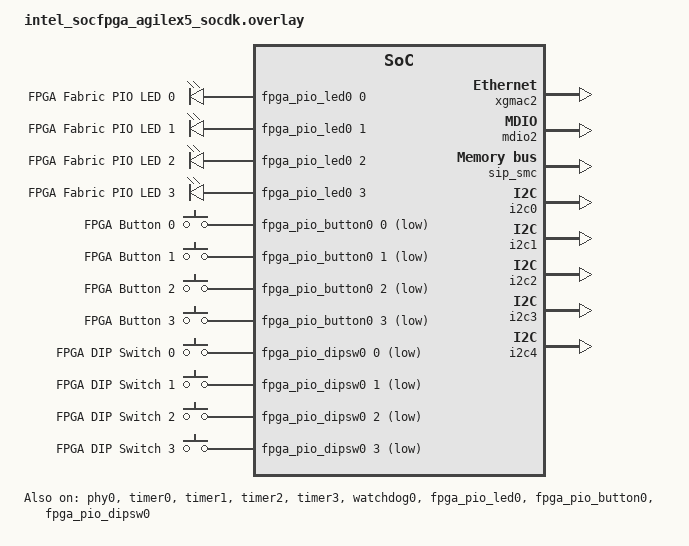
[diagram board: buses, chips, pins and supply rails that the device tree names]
/*
 * Copyright (C) 2023 Intel Corporation
 * SPDX-License-Identifier: Apache-2.0
 */
 

&xgmac2 {
	status = "okay";
};

&mdio2 {
	status = "okay";
};

&phy0 {
	status = "okay";
};

&timer0 {
	status = "okay";
};

&timer1 {
	status = "okay";
};

&timer2 {
	status = "okay";
};

&timer3 {
	status = "okay";
};

&watchdog0 {
	status = "okay";
};

&dma0 {
	status = "okay";
};

&dma1 {
	status = "okay";
};

&sip_smc {
	status = "okay";
	zephyr,num-clients = <5>;
};

&fpga_config {
	status = "okay";
};

&gpio0 {
	status = "okay";
};

&gpio1 {
	status = "okay";
};

&i3c0 {
	status = "disabled";

	lps22hh0: lps22hh@FB1122330001 {
		compatible = "st,lps22hh";
		reg = <0x00 0xFB11 0x22330001>;
		odr = <1>;
		status = "disabled";
	};

	lps22hh1: lps22hh@FB1122330002 {
		compatible = "st,lps22hh";
		reg = <0x00 0xFB11 0x22330002>;
		odr = <1>;
		status = "disabled";
	};

	lps22hh2: lps22hh@500000000000000050 { /* i2c device */
		compatible = "st,lps22hh";
		reg = <0x50 0x0 0x50>;
		status = "disabled";
	};
};

&i2c0 {
	status = "okay";
};

&i2c1 {
	status = "okay";
};

&i2c2 {
	status = "okay";
};

&i2c3 {
	status = "okay";
};

&i2c4 {
	status = "okay";
};

&dma1 {
	status = "okay";
};

&sip_smc {
	status = "okay";
	zephyr,num-clients = <5>;
};

&gpio0 {
	status = "okay";
};

&gpio1 {
	status = "okay";
};

&i3c0 {
	status = "disabled";

	lps22hh0: lps22hh@FB1122330001 {
		compatible = "st,lps22hh";
		reg = <0x00 0xFB11 0x22330001>;
		odr = <1>;
		status = "disabled";
	};

	lps22hh1: lps22hh@FB1122330002 {
		compatible = "st,lps22hh";
		reg = <0x00 0xFB11 0x22330002>;
		odr = <1>;
		status = "disabled";
	};

	lps22hh2: lps22hh@500000000000000050 { /* i2c device */
		compatible = "st,lps22hh";
		reg = <0x50 0x0 0x50>;
		status = "disabled";
	};
};

/*
 * GHRD fabric soft-IP (LW HPS) as children of fpga0. Lifecycle follows
 * bridge on/off via zephyr,deferred-init.
 *
 * LWH2F map (base 0x20000000):
 *   button_pio  @ +0x10060  input  f2h_irq0[0] -> GIC SPI 17
 *   dipsw_pio   @ +0x10070  input  (no IRQ / edge-capture in this GHRD)
 *   led_pio     @ +0x10080  output (no IRQ)
 */
/ {
	aliases {
		led0 = &pio_led0;
		led1 = &pio_led1;
		led2 = &pio_led2;
		led3 = &pio_led3;
		sw0 = &dipsw0;
		sw1 = &dipsw1;
		sw2 = &dipsw2;
		sw3 = &dipsw3;
	};

	leds {
		compatible = "gpio-leds";

		/*
		 * SM72 GHRD: 4-bit led_pio. On some images bit3 is a fabric
		 * heartbeat and is not software-controllable.
		 */
		pio_led0: pio_led0 {
			gpios = <&fpga_pio_led0 0 GPIO_ACTIVE_HIGH>;
			label = "FPGA Fabric PIO LED 0";
		};

		pio_led1: pio_led1 {
			gpios = <&fpga_pio_led0 1 GPIO_ACTIVE_HIGH>;
			label = "FPGA Fabric PIO LED 1";
		};

		pio_led2: pio_led2 {
			gpios = <&fpga_pio_led0 2 GPIO_ACTIVE_HIGH>;
			label = "FPGA Fabric PIO LED 2";
		};

		pio_led3: pio_led3 {
			gpios = <&fpga_pio_led0 3 GPIO_ACTIVE_HIGH>;
			label = "FPGA Fabric PIO LED 3";
		};
	};

	buttons {
		compatible = "gpio-keys";

		button0: button_0 {
			gpios = <&fpga_pio_button0 0 GPIO_ACTIVE_LOW>;
			label = "FPGA Button 0";
		};

		button1: button_1 {
			gpios = <&fpga_pio_button0 1 GPIO_ACTIVE_LOW>;
			label = "FPGA Button 1";
		};

		button2: button_2 {
			gpios = <&fpga_pio_button0 2 GPIO_ACTIVE_LOW>;
			label = "FPGA Button 2";
		};

		button3: button_3 {
			gpios = <&fpga_pio_button0 3 GPIO_ACTIVE_LOW>;
			label = "FPGA Button 3";
		};

		/* DIP switches: idle DATA often 0xF (pulled high); ON is active-low */
		dipsw0: dipsw_0 {
			gpios = <&fpga_pio_dipsw0 0 GPIO_ACTIVE_LOW>;
			label = "FPGA DIP Switch 0";
		};

		dipsw1: dipsw_1 {
			gpios = <&fpga_pio_dipsw0 1 GPIO_ACTIVE_LOW>;
			label = "FPGA DIP Switch 1";
		};

		dipsw2: dipsw_2 {
			gpios = <&fpga_pio_dipsw0 2 GPIO_ACTIVE_LOW>;
			label = "FPGA DIP Switch 2";
		};

		dipsw3: dipsw_3 {
			gpios = <&fpga_pio_dipsw0 3 GPIO_ACTIVE_LOW>;
			label = "FPGA DIP Switch 3";
		};
	};
};

&fpga0 {
	status = "okay";

	fpga_pio_led0: led_pio@20010080 {
		compatible = "altr,pio-1.0";
		reg = <0x20010080 0x20>;
		direction = "output";
		gpio-controller;
		#gpio-cells = <2>;
		ngpios = <4>;
		status = "okay";
		zephyr,deferred-init;
	};

	fpga_pio_button0: button_pio@20010060 {
		compatible = "altr,pio-1.0";
		reg = <0x20010060 0x20>;
		direction = "input";
		interrupt-parent = <&gic>;
		/*
		 * fpga2hps_interrupt_irq0[0]: TRM irqS=17, GIC INTID=49.
		 * Zephyr GIC_SPI uses irqS (SPI index).
		 */
		interrupts = <GIC_SPI 17 IRQ_TYPE_LEVEL IRQ_DEFAULT_PRIORITY>;
		gpio-controller;
		#gpio-cells = <2>;
		ngpios = <4>;
		status = "okay";
		zephyr,deferred-init;
	};

	fpga_pio_dipsw0: dipsw_pio@20010070 {
		compatible = "altr,pio-1.0";
		reg = <0x20010070 0x20>;
		direction = "input";
		/* GHRD: Generate IRQ + edge capture disabled — poll only */
		gpio-controller;
		#gpio-cells = <2>;
		ngpios = <4>;
		status = "okay";
		zephyr,deferred-init;
	};
};
